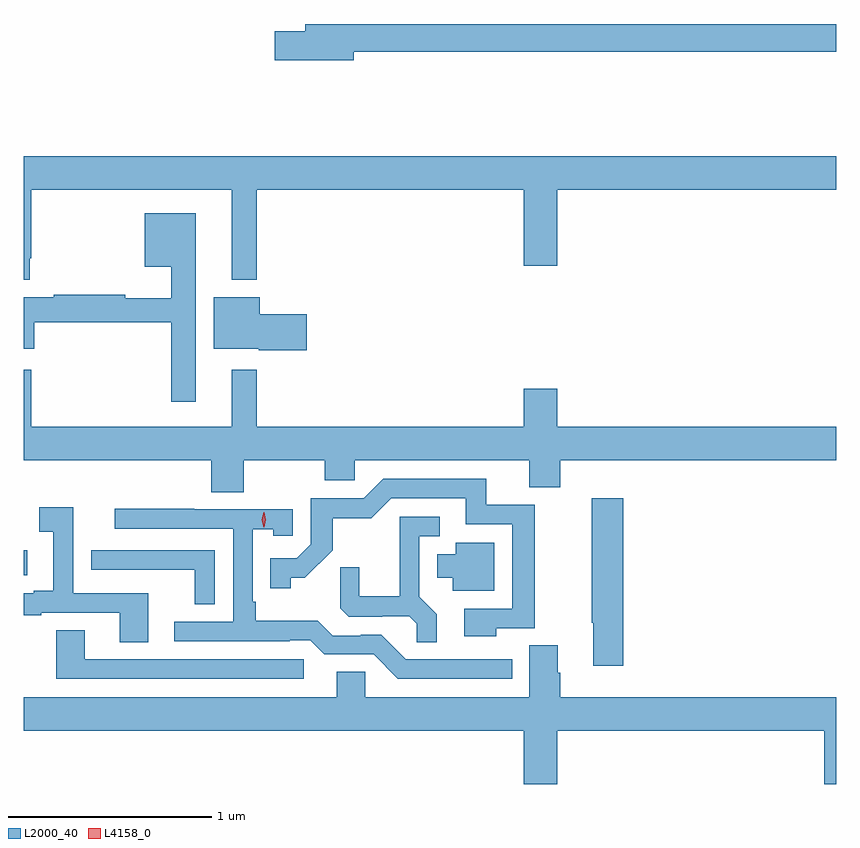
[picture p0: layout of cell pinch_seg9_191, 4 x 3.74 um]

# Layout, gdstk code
import gdstk
lib = gdstk.Library(unit=1e-6, precision=1e-09)
def R(c, l, rs):  # rectangles x0, y0, x1, y1
    for r in rs: c.add(gdstk.rectangle(r[:2], r[2:], *l))
def P(c, l, *ps):  # polygons
    for p in ps: c.add(gdstk.Polygon(p, *l))
L2000_40 = (2000, 40)
L4158_0 = (4158, 0)

pinch_seg9_191 = lib.new_cell('pinch_seg9_191')
R(pinch_seg9_191, L2000_40, [(558.15,1231.817,558.166,1231.941)])
P(pinch_seg9_191, L2000_40, [(559.774,1234.396),(562.15,1234.396),(562.15,1234.532),(559.535,1234.532),(559.535,1234.496),(559.386,1234.496),(559.386,1234.354),(559.774,1234.354)],
  [(558.18,1233.379),(558.187,1233.379),(558.187,1233.716),(559.175,1233.716),(559.175,1233.272),(559.297,1233.272),(559.297,1233.716),(560.612,1233.716),(560.612,1233.342),(560.776,1233.342),(560.776,1233.716),(562.15,1233.716),(562.15,1233.88),(558.15,1233.88),(558.15,1233.272),(558.18,1233.272)],
  [(558.997,1233.601),(558.746,1233.601),(558.746,1233.338),(558.876,1233.338),(558.876,1233.181),(558.65,1233.181),(558.65,1233.2),(558.298,1233.2),(558.298,1233.187),(558.15,1233.187),(558.15,1232.933),(558.202,1232.933),(558.202,1233.064),(558.876,1233.064),(558.876,1232.673),(558.997,1232.673)],
  [(559.543,1233.104),(559.312,1233.104),(559.312,1233.187),(559.085,1233.187),(559.085,1232.933),(559.308,1232.933),(559.308,1232.926),(559.543,1232.926)],
  [(559.233,1232.384),(559.633,1232.384),(559.633,1232.286),(559.779,1232.286),(559.779,1232.384),(560.639,1232.384),(560.639,1232.251),(560.792,1232.251),(560.792,1232.384),(562.15,1232.384),(562.15,1232.548),(560.776,1232.548),(560.776,1232.737),(560.612,1232.737),(560.612,1232.548),(559.297,1232.548),(559.297,1232.83),(559.175,1232.83),(559.175,1232.548),(558.187,1232.548),(558.187,1232.83),(558.15,1232.83),(558.15,1232.384),(559.073,1232.384),(559.073,1232.227),(559.233,1232.227)],
  [(560.475,1231.557),(560.665,1231.557),(560.665,1232.166),(560.426,1232.166),(560.426,1232.292),(559.92,1232.292),(559.824,1232.196),(559.563,1232.196),(559.563,1231.971),(559.494,1231.902),(559.363,1231.902),(559.363,1231.755),(559.464,1231.755),(559.464,1231.805),(559.534,1231.805),(559.672,1231.942),(559.672,1232.098),(559.861,1232.098),(559.959,1232.196),(560.327,1232.196),(560.327,1232.07),(560.556,1232.07),(560.556,1231.653),(560.319,1231.653),(560.319,1231.517),(560.475,1231.517)],
  [(561.101,1232.197),(560.947,1232.197),(560.947,1231.583),(560.954,1231.583),(560.954,1231.371),(561.101,1231.371)],
  [(558.763,1231.728),(558.393,1231.728),(558.393,1232.152),(558.225,1232.152),(558.225,1232.032),(558.296,1232.032),(558.296,1231.741),(558.2,1231.741),(558.2,1231.728),(558.15,1231.728),(558.15,1231.62),(558.235,1231.62),(558.235,1231.632),(558.623,1231.632),(558.623,1231.489),(558.763,1231.489)],
  [(560.554,1231.404),(560.031,1231.404),(559.911,1231.524),(559.81,1231.524),(559.81,1231.521),(559.671,1231.521),(559.598,1231.594),(559.291,1231.594),(559.291,1231.687),(559.278,1231.687),(559.278,1232.045),(559.377,1232.045),(559.377,1232.013),(559.473,1232.013),(559.473,1232.142),(558.989,1232.142),(558.989,1232.145),(558.597,1232.145),(558.597,1232.046),(559.182,1232.046),(559.182,1231.59),(558.891,1231.59),(558.891,1231.494),(559.46,1231.494),(559.46,1231.497),(559.56,1231.497),(559.629,1231.428),(559.872,1231.428),(559.992,1231.308),(560.554,1231.308)],
  [(560.183,1231.625),(560.097,1231.711),(560.097,1232.01),(560.197,1232.01),(560.197,1232.106),(560,1232.106),(560,1231.714),(559.802,1231.714),(559.802,1231.857),(559.708,1231.857),(559.708,1231.655),(559.749,1231.614),(559.914,1231.614),(559.914,1231.617),(560.048,1231.617),(560.085,1231.58),(560.085,1231.489),(560.183,1231.489)],
  [(560.467,1231.978),(560.276,1231.978),(560.276,1231.921),(560.186,1231.921),(560.186,1231.805),(560.261,1231.805),(560.261,1231.742),(560.467,1231.742)],
  [(559.089,1231.941),(558.483,1231.941),(558.483,1231.846),(558.595,1231.846),(558.595,1231.845),(558.991,1231.845),(558.991,1231.675),(559.089,1231.675)],
  [(559.528,1231.404),(558.451,1231.404),(558.451,1231.547),(558.311,1231.547),(558.311,1231.308),(559.528,1231.308)],
  [(560.776,1231.052),(562.092,1231.052),(562.092,1230.79),(562.15,1230.79),(562.15,1231.216),(560.792,1231.216),(560.792,1231.338),(560.779,1231.338),(560.779,1231.472),(560.639,1231.472),(560.639,1231.216),(559.83,1231.216),(559.83,1231.343),(559.691,1231.343),(559.691,1231.216),(558.15,1231.216),(558.15,1231.052),(560.612,1231.052),(560.612,1230.79),(560.776,1230.79)])
P(pinch_seg9_191, L4158_0, [(559.332,1232.055),(559.332,1232.055),(559.322,1232.091),(559.332,1232.127),(559.332,1232.127),(559.333,1232.127),(559.342,1232.091),(559.333,1232.055)])

lib.write_gds('pinch_seg9_191.gds')
